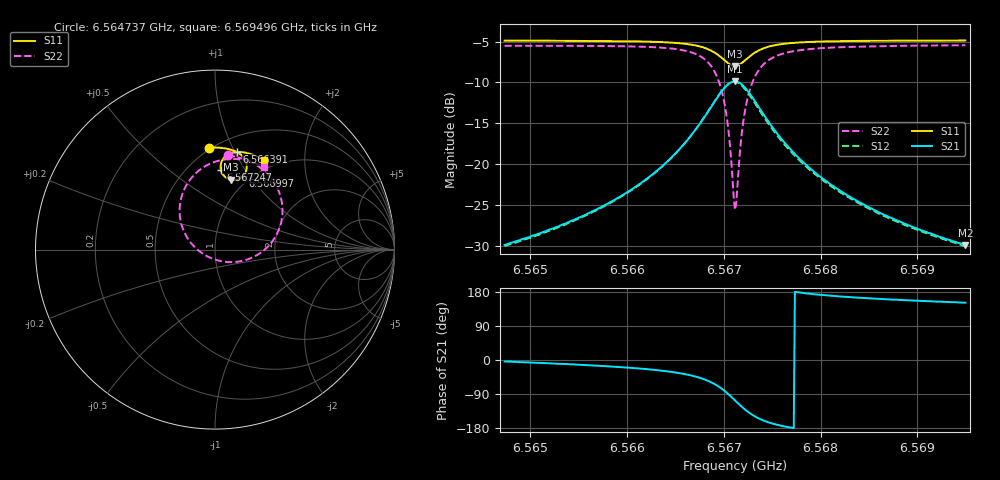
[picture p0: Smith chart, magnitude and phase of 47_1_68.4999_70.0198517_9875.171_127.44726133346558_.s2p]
#  HZ  S  RI  R  50.00
! Rohde & Schwarz Vector Network Analyzer
! Rohde-Schwarz,ZNB20-2Port,1311601062101988,3.16
! Created: UTC 3/20/2024, 4:50:40 PM
! freq[Hz]  re:S11  im:S11  re:S21  im:S21  re:S12  im:S12  re:S22  im:S22
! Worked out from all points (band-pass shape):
!   401 points, 6.564737 GHz to 6.569496 GHz, reference 50 ohm
!   highest |S21| = -9.87 dB at 6.567116 GHz (marker M1); lowest = -29.9 dB at 6.569496 GHz (marker M2)
!   |S21| within 3 dB of the highest: 6.566877 GHz to 6.567354 GHz (476.2 kHz wide, 0.00725 % of centre)
!   lowest |S11| = -8.0 dB at 6.567116 GHz (marker M3), VSWR 2.33, Z = 42.7 + j39.5 ohm
!   |S11| at or under -10 dB: nowhere
!   |S22| runs from -25.6 to -5.4 dB; largest |S21 - S12| = 0.017
!   S11 on the Smith chart (normalised r, x): 6.564737 GHz: 0.49, +0.82; 6.566391 GHz: 0.65, +1.02; 6.566997 GHz: 0.92, +0.93; 6.567247 GHz: 0.71, +0.78; 6.569496 GHz: 0.87, +1.29
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6.5647369e9  -0.0321 0.5686  0.032 -0.00214  0.0314 -0.00275  0.0718 0.5245
6.565534e9  0.0352 0.5669  0.0467 -0.0107  0.0459 -0.0113  0.1538 0.5063
6.5659742e9  0.0765 0.56  0.0619 -0.0218  0.0609 -0.0227  0.2117 0.4818
6.5663311e9  0.1149 0.547  0.083 -0.0429  0.0817 -0.044  0.2748 0.4383
6.5663906e9  0.122 0.5435  0.0878 -0.0488  0.0865 -0.0499  0.2876 0.4266
6.5666286e9  0.1528 0.5204  0.11 -0.0886  0.1084 -0.0904  0.3446 0.3485
6.5668071e9  0.1741 0.4831  0.1215 -0.1543  0.1183 -0.1579  0.3761 0.2213
6.5669141e9  0.1751 0.4448  0.1047 -0.2218  0.0983 -0.2265  0.3475 0.0926
6.5669974e9  0.1559 0.4092  0.0539 -0.2826  0.0427 -0.286  0.2516 -0.0195
6.567045e9  0.1327 0.3933  0.00299 -0.3076  -0.0111 -0.3082  0.1561 -0.0621
6.5670926e9  0.1028 0.3874  -0.0598 -0.3137  -0.075 -0.3091  0.0415 -0.0658
6.5671164e9  0.0868 0.3893  -0.0919 -0.3075  -0.1067 -0.3  -0.0154 -0.0502
6.5671402e9  0.0719 0.3946  -0.1223 -0.2949  -0.1357 -0.2849  -0.0675 -0.0233
6.5671759e9  0.0528 0.4082  -0.1606 -0.2664  -0.171 -0.2537  -0.1307 0.0329
6.5671997e9  0.0434 0.4196  -0.18 -0.2433  -0.188 -0.2294  -0.1609 0.0767
6.5672473e9  0.0328 0.4445  -0.2032 -0.1939  -0.2067 -0.1799  -0.1928 0.1667
6.5673425e9  0.0361 0.4879  -0.2046 -0.1101  -0.2027 -0.0994  -0.1805 0.3127
6.5674852e9  0.0632 0.5236  -0.169 -0.0409  -0.1653 -0.0349  -0.1035 0.4286
6.5676518e9  0.0949 0.5393  -0.1302 -0.00779  -0.1268 -0.00475  -0.0222 0.481
6.5679135e9  0.1339 0.544  -0.0914 0.00954  -0.089 0.011  0.064 0.5032
6.5687107e9  0.214 0.5274  -0.0444 0.0163  -0.0435 0.0166  0.1977 0.4897
6.5694959e9  0.2746 0.5005  -0.028 0.0155  -0.0274 0.0155  0.274 0.4583
